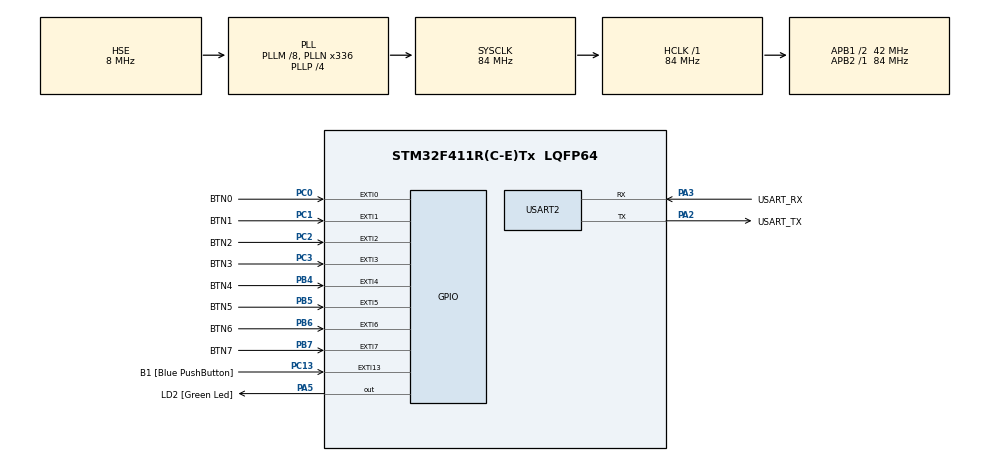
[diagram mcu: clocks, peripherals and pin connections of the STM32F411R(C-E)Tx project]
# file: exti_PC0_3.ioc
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Mcu.Family=STM32F4
Mcu.Name=STM32F411R(C-E)Tx
Mcu.Package=LQFP64
NVIC.EXTI0_IRQn=true\:0\:0\:false\:false\:true\:true\:true\:true
NVIC.EXTI1_IRQn=true\:0\:0\:false\:false\:true\:true\:true\:true
NVIC.EXTI2_IRQn=true\:0\:0\:false\:false\:true\:true\:true\:true
NVIC.EXTI3_IRQn=true\:0\:0\:false\:false\:true\:true\:true\:true
NVIC.EXTI4_IRQn=true\:0\:0\:false\:false\:true\:true\:true\:true
NVIC.EXTI9_5_IRQn=true\:0\:0\:false\:false\:true\:true\:true\:true
NVIC.PriorityGroup=NVIC_PRIORITYGROUP_0
PA13.GPIO_Label=TMS
PA13.Mode=Serial_Wire
PA13.Signal=SYS_JTMS-SWDIO
PA14.GPIO_Label=TCK
PA14.Mode=Serial_Wire
PA14.Signal=SYS_JTCK-SWCLK
PA2.GPIO_Label=USART_TX
PA2.Mode=Asynchronous
PA2.Signal=USART2_TX
PA3.GPIO_Label=USART_RX
PA3.Mode=Asynchronous
PA3.Signal=USART2_RX
PA5.GPIO_Label=LD2 [Green Led]
PA5.Signal=GPIO_Output
PB3.GPIO_Label=SWO
PB3.Signal=SYS_JTDO-SWO
PB4.GPIO_Label=BTN4
PB4.Signal=GPXTI4
PB5.GPIO_Label=BTN5
PB5.Signal=GPXTI5
PB6.GPIO_Label=BTN6
PB6.Signal=GPXTI6
PB7.GPIO_Label=BTN7
PB7.Signal=GPXTI7
PC0.GPIO_Label=BTN0
PC0.Signal=GPXTI0
PC1.GPIO_Label=BTN1
PC1.Signal=GPXTI1
PC13-ANTI_TAMP.GPIO_Label=B1 [Blue PushButton]
PC13-ANTI_TAMP.GPIO_ModeDefaultEXTI=GPIO_MODE_IT_FALLING
PC13-ANTI_TAMP.Signal=GPXTI13
PC14-OSC32_IN.Mode=LSE-External-Oscillator
PC14-OSC32_IN.Signal=RCC_OSC32_IN
PC15-OSC32_OUT.Mode=LSE-External-Oscillator
PC15-OSC32_OUT.Signal=RCC_OSC32_OUT
PC2.GPIO_Label=BTN2
PC2.Signal=GPXTI2
PC3.GPIO_Label=BTN3
PC3.Signal=GPXTI3
PH0\ -\ OSC_IN.Mode=HSE-External-Oscillator
PH0\ -\ OSC_IN.Signal=RCC_OSC_IN
PH1\ -\ OSC_OUT.Mode=HSE-External-Oscillator
PH1\ -\ OSC_OUT.Signal=RCC_OSC_OUT
ProjectManager.HeapSize=0x200
ProjectManager.StackSize=0x400
ProjectManager.TargetToolchain=STM32CubeIDE
RCC.48MHZClocksFreq_Value=84000000
RCC.AHBFreq_Value=84000000
RCC.APB1CLKDivider=RCC_HCLK_DIV2
RCC.APB1Freq_Value=42000000
RCC.APB1TimFreq_Value=84000000
RCC.APB2Freq_Value=84000000
RCC.APB2TimFreq_Value=84000000
RCC.CortexFreq_Value=84000000
RCC.FLatency-AdvancedSettings=FLASH_LATENCY_2
RCC.HCLKFreq_Value=84000000
RCC.HSE_VALUE=8000000
RCC.HSI_VALUE=16000000
RCC.PLLM=8
RCC.PLLN=336
RCC.PLLP=RCC_PLLP_DIV4
RCC.PLLSourceVirtual=RCC_PLLSOURCE_HSE
RCC.SYSCLKFreq_VALUE=84000000
RCC.SYSCLKSource=RCC_SYSCLKSOURCE_PLLCLK
RCC.VCOOutputFreq_Value=336000000
USART2.VirtualMode=VM_ASYNC
board=NUCLEO-F411RE

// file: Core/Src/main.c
/* USER CODE BEGIN Header */
/**
  ******************************************************************************
  * @file           : main.c
  * @brief          : Main program body
  ******************************************************************************
  * @attention
  *
  * Copyright (c) 2024 STMicroelectronics.
  * All rights reserved.
  *
  * This software is licensed under terms that can be found in the LICENSE file
  * in the root directory of this software component.
  * If no LICENSE file comes with this software, it is provided AS-IS.
  *
  ******************************************************************************
  */
/* USER CODE END Header */
#include "main.h"

/* USER CODE BEGIN Includes */
#include <stdio.h>
/* USER CODE END Includes */

/* USER CODE BEGIN PD */
#ifdef __GNUC__
/* With GCC, small printf (option LD Linker->Libraries->Small printf
   set to 'Yes') calls __io_putchar() */
#define PUTCHAR_PROTOTYPE int __io_putchar(int ch)
#else
#define PUTCHAR_PROTOTYPE int fputc(int ch, FILE *f)
#endif /* __GNUC__ */
/* USER CODE END PD */

UART_HandleTypeDef huart2;

/* USER CODE BEGIN PV */
volatile int keyNo;
/* USER CODE END PV */

void SystemClock_Config(void);
static void MX_GPIO_Init(void);
static void MX_USART2_UART_Init(void);

int main(void)
{

  /* MCU Configuration--------------------------------------------------------*/

  /* Reset of all peripherals, Initializes the Flash interface and the Systick. */
  HAL_Init();

  /* Configure the system clock */
  SystemClock_Config();

  /* Initialize all configured peripherals */
  MX_GPIO_Init();
  MX_USART2_UART_Init();
  /* USER CODE BEGIN 2 */
  printf("start main() - exti_pc0_3\r\n");
  /* USER CODE END 2 */

  /* Infinite loop */
  /* USER CODE BEGIN WHILE */
  while (1)
  {
	  if(keyNo != 0)
	  {
		  printf("keyNo : %d\r\n",keyNo);
		  keyNo = 0;
	  }
    /* USER CODE END WHILE */

  }
}

void SystemClock_Config(void)
{
  RCC_OscInitTypeDef RCC_OscInitStruct = {0};
  RCC_ClkInitTypeDef RCC_ClkInitStruct = {0};

  /** Configure the main internal regulator output voltage
  */
  __HAL_RCC_PWR_CLK_ENABLE();
  __HAL_PWR_VOLTAGESCALING_CONFIG(PWR_REGULATOR_VOLTAGE_SCALE1);

  /** Initializes the RCC Oscillators according to the specified parameters
  * in the RCC_OscInitTypeDef structure.
  */
  RCC_OscInitStruct.OscillatorType = RCC_OSCILLATORTYPE_HSE;
  RCC_OscInitStruct.HSEState = RCC_HSE_ON;
  RCC_OscInitStruct.PLL.PLLState = RCC_PLL_ON;
  RCC_OscInitStruct.PLL.PLLSource = RCC_PLLSOURCE_HSE;
  RCC_OscInitStruct.PLL.PLLM = 8;
  RCC_OscInitStruct.PLL.PLLN = 336;
  RCC_OscInitStruct.PLL.PLLP = RCC_PLLP_DIV4;
  RCC_OscInitStruct.PLL.PLLQ = 4;
  if (HAL_RCC_OscConfig(&RCC_OscInitStruct) != HAL_OK)
  {
    Error_Handler();
  }

  /** Initializes the CPU, AHB and APB buses clocks
  */
  RCC_ClkInitStruct.ClockType = RCC_CLOCKTYPE_HCLK|RCC_CLOCKTYPE_SYSCLK
                              |RCC_CLOCKTYPE_PCLK1|RCC_CLOCKTYPE_PCLK2;
  RCC_ClkInitStruct.SYSCLKSource = RCC_SYSCLKSOURCE_PLLCLK;
  RCC_ClkInitStruct.AHBCLKDivider = RCC_SYSCLK_DIV1;
  RCC_ClkInitStruct.APB1CLKDivider = RCC_HCLK_DIV2;
  RCC_ClkInitStruct.APB2CLKDivider = RCC_HCLK_DIV1;

  if (HAL_RCC_ClockConfig(&RCC_ClkInitStruct, FLASH_LATENCY_2) != HAL_OK)
  {
    Error_Handler();
  }
}

static void MX_USART2_UART_Init(void)
{

  huart2.Instance = USART2;
  huart2.Init.BaudRate = 115200;
  huart2.Init.WordLength = UART_WORDLENGTH_8B;
  huart2.Init.StopBits = UART_STOPBITS_1;
  huart2.Init.Parity = UART_PARITY_NONE;
  huart2.Init.Mode = UART_MODE_TX_RX;
  huart2.Init.HwFlowCtl = UART_HWCONTROL_NONE;
  huart2.Init.OverSampling = UART_OVERSAMPLING_16;
  if (HAL_UART_Init(&huart2) != HAL_OK)
  {
    Error_Handler();
  }

}

static void MX_GPIO_Init(void)
{
  GPIO_InitTypeDef GPIO_InitStruct = {0};

  /* GPIO Ports Clock Enable */
  __HAL_RCC_GPIOC_CLK_ENABLE();
  __HAL_RCC_GPIOH_CLK_ENABLE();
  __HAL_RCC_GPIOA_CLK_ENABLE();
  __HAL_RCC_GPIOB_CLK_ENABLE();

  /*Configure GPIO pin Output Level */
  HAL_GPIO_WritePin(LD2_GPIO_Port, LD2_Pin, GPIO_PIN_RESET);

  /*Configure GPIO pin : B1_Pin */
  GPIO_InitStruct.Pin = B1_Pin;
  GPIO_InitStruct.Mode = GPIO_MODE_IT_FALLING;
  GPIO_InitStruct.Pull = GPIO_NOPULL;
  HAL_GPIO_Init(B1_GPIO_Port, &GPIO_InitStruct);

  /*Configure GPIO pins : BTN0_Pin BTN1_Pin BTN2_Pin BTN3_Pin */
  GPIO_InitStruct.Pin = BTN0_Pin|BTN1_Pin|BTN2_Pin|BTN3_Pin;
  GPIO_InitStruct.Mode = GPIO_MODE_IT_RISING;
  GPIO_InitStruct.Pull = GPIO_NOPULL;
  HAL_GPIO_Init(GPIOC, &GPIO_InitStruct);

  /*Configure GPIO pin : LD2_Pin */
  GPIO_InitStruct.Pin = LD2_Pin;
  GPIO_InitStruct.Mode = GPIO_MODE_OUTPUT_PP;
  GPIO_InitStruct.Pull = GPIO_NOPULL;
  GPIO_InitStruct.Speed = GPIO_SPEED_FREQ_LOW;
  HAL_GPIO_Init(LD2_GPIO_Port, &GPIO_InitStruct);

  /*Configure GPIO pins : BTN4_Pin BTN5_Pin BTN6_Pin BTN7_Pin */
  GPIO_InitStruct.Pin = BTN4_Pin|BTN5_Pin|BTN6_Pin|BTN7_Pin;
  GPIO_InitStruct.Mode = GPIO_MODE_IT_RISING;
  GPIO_InitStruct.Pull = GPIO_NOPULL;
  HAL_GPIO_Init(GPIOB, &GPIO_InitStruct);

  /* EXTI interrupt init*/
  HAL_NVIC_SetPriority(EXTI0_IRQn, 0, 0);
  HAL_NVIC_EnableIRQ(EXTI0_IRQn);

  HAL_NVIC_SetPriority(EXTI1_IRQn, 0, 0);
  HAL_NVIC_EnableIRQ(EXTI1_IRQn);

  HAL_NVIC_SetPriority(EXTI2_IRQn, 0, 0);
  HAL_NVIC_EnableIRQ(EXTI2_IRQn);

  HAL_NVIC_SetPriority(EXTI3_IRQn, 0, 0);
  HAL_NVIC_EnableIRQ(EXTI3_IRQn);

  HAL_NVIC_SetPriority(EXTI4_IRQn, 0, 0);
  HAL_NVIC_EnableIRQ(EXTI4_IRQn);

  HAL_NVIC_SetPriority(EXTI9_5_IRQn, 0, 0);
  HAL_NVIC_EnableIRQ(EXTI9_5_IRQn);

}

/* USER CODE BEGIN 4 */
/**
  * @brief  Retargets the C library printf function to the USART.
  * @param  None
  * @retval None
  */
PUTCHAR_PROTOTYPE
{
  /* Place your implementation of fputc here */
  /* e.g. write a character to the USART6 and Loop until the end of transmission */
  HAL_UART_Transmit(&huart2, (uint8_t *)&ch, 1, 0xFFFF);

  return ch;
}
void HAL_GPIO_EXTI_Callback(uint16_t GPIO_Pin)
{
	switch(GPIO_Pin)
	{
	 case BTN0_Pin:
		 keyNo = 1;
		 break;
	 case BTN1_Pin:
		 keyNo = 2;
		 break;
	 case BTN2_Pin:
		 keyNo = 3;
		 break;
	 case BTN3_Pin:
		 keyNo = 4;
		 break;
	 case BTN4_Pin:
		 keyNo = 5;
		 break;
	 case BTN5_Pin:
		 keyNo = 6;
		 break;
	 case BTN6_Pin:
		 keyNo = 7;
		 break;
	 case BTN7_Pin:
		 keyNo = 8;
		 break;
	}
}
/* USER CODE END 4 */

void Error_Handler(void)
{
  __disable_irq();
  while (1)
  {
  }
}
